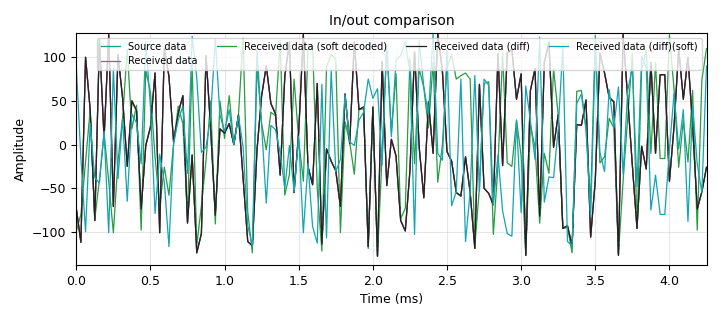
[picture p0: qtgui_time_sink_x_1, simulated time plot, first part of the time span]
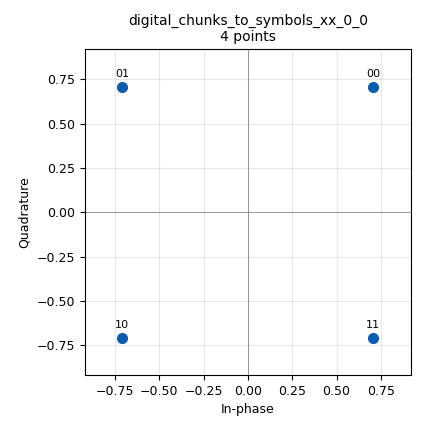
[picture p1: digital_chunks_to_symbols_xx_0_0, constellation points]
<?xml version='1.0' encoding='utf-8'?>
<?grc format='1' created='3.7.11'?>
<flow_graph>
<block>
<key>options</key>
<param><key>id</key><value>test_mapping</value></param>
<param><key>generate_options</key><value>qt_gui</value></param>
</block>
<block>
<key>variable_constellation</key>
<param><key>id</key><value>constel</value></param>
<param><key>type</key><value>dqpsk</value></param>
<param><key>precision</key><value>8</value></param>
</block>
<block>
<key>variable_qtgui_range</key>
<param><key>id</key><value>samp_rate</value></param>
<param><key>value</key><value>32000</value></param>
<param><key>gui_hint</key><value>0,0,1,1</value></param>
<param><key>label</key><value>Sample rate</value></param>
<param><key>min_len</key><value>100</value></param>
<param><key>orient</key><value>Qt.Horizontal</value></param>
<param><key>start</key><value>1</value></param>
<param><key>step</key><value>10</value></param>
<param><key>stop</key><value>256000</value></param>
<param><key>rangeType</key><value>int</value></param>
<param><key>widget</key><value>slider</value></param>
</block>
<block>
<key>variable_qtgui_label</key>
<param><key>id</key><value>samp_rate_label</value></param>
<param><key>value</key><value>samp_rate</value></param>
<param><key>gui_hint</key><value>0,1,1,1</value></param>
<param><key>label</key><value>Sample rate</value></param>
<param><key>type</key><value>int</value></param>
</block>
<block>
<key>variable</key>
<param><key>id</key><value>variable_0</value></param>
<param><key>value</key><value>constel.set_pre_diff_code(False) </value></param>
</block>
<block>
<key>analog_random_source_x</key>
<param><key>id</key><value>analog_random_source_x_0</value></param>
<param><key>max</key><value>256</value></param>
<param><key>min</key><value>0</value></param>
<param><key>num_samps</key><value>10000</value></param>
<param><key>type</key><value>byte</value></param>
<param><key>repeat</key><value>True</value></param>
</block>
<block>
<key>blocks_char_to_float</key>
<param><key>id</key><value>blocks_char_to_float_0</value></param>
<param><key>scale</key><value>1</value></param>
</block>
<block>
<key>blocks_char_to_float</key>
<param><key>id</key><value>blocks_char_to_float_1_0</value></param>
<param><key>scale</key><value>1</value></param>
</block>
<block>
<key>blocks_char_to_float</key>
<param><key>id</key><value>blocks_char_to_float_1_0_0</value></param>
<param><key>scale</key><value>1</value></param>
</block>
<block>
<key>blocks_char_to_float</key>
<param><key>id</key><value>blocks_char_to_float_1_0_0_0</value></param>
<param><key>scale</key><value>1</value></param>
</block>
<block>
<key>blocks_char_to_float</key>
<param><key>id</key><value>blocks_char_to_float_1_0_1</value></param>
<param><key>scale</key><value>1</value></param>
</block>
<block>
<key>blocks_repack_bits_bb</key>
<param><key>id</key><value>blocks_repack_bits_bb_0</value></param>
<param><key>k</key><value>1</value></param>
<param><key>l</key><value>constel.bits_per_symbol()</value></param>
<param><key>endianness</key><value>gr.GR_MSB_FIRST</value></param>
</block>
<block>
<key>blocks_repack_bits_bb</key>
<param><key>id</key><value>blocks_repack_bits_bb_0_0</value></param>
<param><key>k</key><value>1</value></param>
<param><key>l</key><value>8</value></param>
<param><key>endianness</key><value>gr.GR_LSB_FIRST</value></param>
</block>
<block>
<key>blocks_repack_bits_bb</key>
<param><key>id</key><value>blocks_repack_bits_bb_0_0_0</value></param>
<param><key>k</key><value>1</value></param>
<param><key>l</key><value>8</value></param>
<param><key>endianness</key><value>gr.GR_LSB_FIRST</value></param>
</block>
<block>
<key>blocks_repack_bits_bb</key>
<param><key>id</key><value>blocks_repack_bits_bb_0_0_0_0</value></param>
<param><key>k</key><value>1</value></param>
<param><key>l</key><value>8</value></param>
<param><key>endianness</key><value>gr.GR_LSB_FIRST</value></param>
</block>
<block>
<key>blocks_repack_bits_bb</key>
<param><key>id</key><value>blocks_repack_bits_bb_0_0_1</value></param>
<param><key>k</key><value>constel.bits_per_symbol()</value></param>
<param><key>l</key><value>1</value></param>
<param><key>endianness</key><value>gr.GR_MSB_FIRST</value></param>
</block>
<block>
<key>blocks_repack_bits_bb</key>
<param><key>id</key><value>blocks_repack_bits_bb_0_0_1_0</value></param>
<param><key>k</key><value>constel.bits_per_symbol()</value></param>
<param><key>l</key><value>1</value></param>
<param><key>endianness</key><value>gr.GR_MSB_FIRST</value></param>
</block>
<block>
<key>blocks_repack_bits_bb</key>
<param><key>id</key><value>blocks_repack_bits_bb_0_0_1_0_0</value></param>
<param><key>k</key><value>1</value></param>
<param><key>l</key><value>constel.bits_per_symbol()</value></param>
<param><key>endianness</key><value>gr.GR_MSB_FIRST</value></param>
</block>
<block>
<key>blocks_repack_bits_bb</key>
<param><key>id</key><value>blocks_repack_bits_bb_0_0_1_0_0_0</value></param>
<param><key>k</key><value>constel.bits_per_symbol()</value></param>
<param><key>l</key><value>1</value></param>
<param><key>endianness</key><value>gr.GR_MSB_FIRST</value></param>
</block>
<block>
<key>blocks_repack_bits_bb</key>
<param><key>id</key><value>blocks_repack_bits_bb_0_0_2</value></param>
<param><key>k</key><value>1</value></param>
<param><key>l</key><value>8</value></param>
<param><key>endianness</key><value>gr.GR_LSB_FIRST</value></param>
</block>
<block>
<key>blocks_repack_bits_bb</key>
<param><key>id</key><value>blocks_repack_bits_bb_1</value></param>
<param><key>k</key><value>8</value></param>
<param><key>l</key><value>1</value></param>
<param><key>endianness</key><value>gr.GR_LSB_FIRST</value></param>
</block>
<block>
<key>blocks_throttle</key>
<param><key>id</key><value>blocks_throttle_1</value></param>
<param><key>samples_per_second</key><value>samp_rate</value></param>
<param><key>type</key><value>byte</value></param>
</block>
<block>
<key>digital_binary_slicer_fb</key>
<param><key>id</key><value>digital_binary_slicer_fb_0_0</value></param>
</block>
<block>
<key>digital_binary_slicer_fb</key>
<param><key>id</key><value>digital_binary_slicer_fb_0_0_0</value></param>
</block>
<block>
<key>digital_chunks_to_symbols_xx</key>
<param><key>id</key><value>digital_chunks_to_symbols_xx_0_0</value></param>
<param><key>dimension</key><value>1</value></param>
<param><key>in_type</key><value>byte</value></param>
<param><key>out_type</key><value>complex</value></param>
<param><key>symbol_table</key><value>constel.points()</value></param>
</block>
<block>
<key>digital_chunks_to_symbols_xx</key>
<param><key>id</key><value>digital_chunks_to_symbols_xx_0_0_0</value></param>
<param><key>dimension</key><value>1</value></param>
<param><key>in_type</key><value>byte</value></param>
<param><key>out_type</key><value>complex</value></param>
<param><key>symbol_table</key><value>constel.points()</value></param>
</block>
<block>
<key>digital_constellation_decoder_cb</key>
<param><key>id</key><value>digital_constellation_decoder_cb_0_0</value></param>
<param><key>constellation</key><value>constel.base()</value></param>
</block>
<block>
<key>digital_constellation_decoder_cb</key>
<param><key>id</key><value>digital_constellation_decoder_cb_0_0_0</value></param>
<param><key>constellation</key><value>constel.base()</value></param>
</block>
<block>
<key>digital_constellation_soft_decoder_cf</key>
<param><key>id</key><value>digital_constellation_soft_decoder_cf_0</value></param>
<param><key>constellation</key><value>constel.base()</value></param>
</block>
<block>
<key>digital_constellation_soft_decoder_cf</key>
<param><key>id</key><value>digital_constellation_soft_decoder_cf_0_0</value></param>
<param><key>constellation</key><value>constel.base()</value></param>
</block>
<block>
<key>digital_diff_decoder_bb</key>
<param><key>id</key><value>digital_diff_decoder_bb_0</value></param>
<param><key>modulus</key><value>len(constel.points())</value></param>
</block>
<block>
<key>digital_diff_decoder_bb</key>
<param><key>id</key><value>digital_diff_decoder_bb_0_0</value></param>
<param><key>modulus</key><value>len(constel.points())</value></param>
</block>
<block>
<key>digital_diff_encoder_bb</key>
<param><key>id</key><value>digital_diff_encoder_bb_0</value></param>
<param><key>modulus</key><value>len(constel.points())</value></param>
</block>
<block>
<key>import</key>
<param><key>id</key><value>import_0</value></param>
<param><key>import</key><value>from gnuradio import digital</value></param>
</block>
<block>
<key>import</key>
<param><key>id</key><value>import_0_0</value></param>
<param><key>import</key><value>from gnuradio import filter</value></param>
</block>
<block>
<key>qtgui_time_sink_x</key>
<param><key>id</key><value>qtgui_time_sink_x_1</value></param>
<param><key>gui_hint</key><value>3,0,1,4</value></param>
<param><key>color1</key><value>"blue"</value></param>
<param><key>label1</key><value>"Source data"</value></param>
<param><key>color2</key><value>"red"</value></param>
<param><key>label2</key><value>"Received data"</value></param>
<param><key>color3</key><value>"green"</value></param>
<param><key>label3</key><value>"Received data (soft decoded)"</value></param>
<param><key>color4</key><value>"dark red"</value></param>
<param><key>label4</key><value>"Received data (diff)"</value></param>
<param><key>style4</key><value>2</value></param>
<param><key>color5</key><value>"dark green"</value></param>
<param><key>label5</key><value>"Received data (diff)(soft)"</value></param>
<param><key>style5</key><value>2</value></param>
<param><key>name</key><value>"In/out comparison"</value></param>
<param><key>nconnections</key><value>5</value></param>
<param><key>size</key><value>512</value></param>
<param><key>srate</key><value>samp_rate</value></param>
<param><key>type</key><value>float</value></param>
<param><key>ymax</key><value>128</value></param>
<param><key>ymin</key><value>-128</value></param>
</block>
<block>
<key>virtual_sink</key>
<param><key>id</key><value>virtual_sink_2_0_0_0_0</value></param>
<param><key>stream_id</key><value>snk_data</value></param>
</block>
<block>
<key>virtual_sink</key>
<param><key>id</key><value>virtual_sink_2_0_0_0_0_0</value></param>
<param><key>stream_id</key><value>src_data</value></param>
</block>
<block>
<key>virtual_sink</key>
<param><key>id</key><value>virtual_sink_2_0_0_0_0_1</value></param>
<param><key>stream_id</key><value>snk_data_soft</value></param>
</block>
<block>
<key>virtual_sink</key>
<param><key>id</key><value>virtual_sink_2_0_0_0_0_1_0</value></param>
<param><key>stream_id</key><value>snk_data_soft_diff</value></param>
</block>
<block>
<key>virtual_sink</key>
<param><key>id</key><value>virtual_sink_2_0_0_0_0_2</value></param>
<param><key>stream_id</key><value>snk_data_diff</value></param>
</block>
<block>
<key>virtual_source</key>
<param><key>id</key><value>virtual_source_0</value></param>
<param><key>stream_id</key><value>src_data</value></param>
</block>
<block>
<key>virtual_source</key>
<param><key>id</key><value>virtual_source_2</value></param>
<param><key>stream_id</key><value>snk_data</value></param>
</block>
<block>
<key>virtual_source</key>
<param><key>id</key><value>virtual_source_2_0</value></param>
<param><key>stream_id</key><value>snk_data_soft</value></param>
</block>
<block>
<key>virtual_source</key>
<param><key>id</key><value>virtual_source_2_0_0</value></param>
<param><key>stream_id</key><value>snk_data_soft_diff</value></param>
</block>
<block>
<key>virtual_source</key>
<param><key>id</key><value>virtual_source_2_1</value></param>
<param><key>stream_id</key><value>snk_data_diff</value></param>
</block>
<connection><source_block_id>analog_random_source_x_0</source_block_id><sink_block_id>blocks_throttle_1</sink_block_id><source_key>0</source_key><sink_key>0</sink_key></connection>
<connection><source_block_id>blocks_char_to_float_0</source_block_id><sink_block_id>qtgui_time_sink_x_1</sink_block_id><source_key>0</source_key><sink_key>0</sink_key></connection>
<connection><source_block_id>blocks_char_to_float_1_0</source_block_id><sink_block_id>qtgui_time_sink_x_1</sink_block_id><source_key>0</source_key><sink_key>1</sink_key></connection>
<connection><source_block_id>blocks_char_to_float_1_0_0</source_block_id><sink_block_id>qtgui_time_sink_x_1</sink_block_id><source_key>0</source_key><sink_key>2</sink_key></connection>
<connection><source_block_id>blocks_char_to_float_1_0_0_0</source_block_id><sink_block_id>qtgui_time_sink_x_1</sink_block_id><source_key>0</source_key><sink_key>4</sink_key></connection>
<connection><source_block_id>blocks_char_to_float_1_0_1</source_block_id><sink_block_id>qtgui_time_sink_x_1</sink_block_id><source_key>0</source_key><sink_key>3</sink_key></connection>
<connection><source_block_id>blocks_repack_bits_bb_0</source_block_id><sink_block_id>digital_chunks_to_symbols_xx_0_0</sink_block_id><source_key>0</source_key><sink_key>0</sink_key></connection>
<connection><source_block_id>blocks_repack_bits_bb_0</source_block_id><sink_block_id>digital_diff_encoder_bb_0</sink_block_id><source_key>0</source_key><sink_key>0</sink_key></connection>
<connection><source_block_id>blocks_repack_bits_bb_0_0</source_block_id><sink_block_id>virtual_sink_2_0_0_0_0</sink_block_id><source_key>0</source_key><sink_key>0</sink_key></connection>
<connection><source_block_id>blocks_repack_bits_bb_0_0_0</source_block_id><sink_block_id>virtual_sink_2_0_0_0_0_1</sink_block_id><source_key>0</source_key><sink_key>0</sink_key></connection>
<connection><source_block_id>blocks_repack_bits_bb_0_0_0_0</source_block_id><sink_block_id>virtual_sink_2_0_0_0_0_1_0</sink_block_id><source_key>0</source_key><sink_key>0</sink_key></connection>
<connection><source_block_id>blocks_repack_bits_bb_0_0_1</source_block_id><sink_block_id>blocks_repack_bits_bb_0_0</sink_block_id><source_key>0</source_key><sink_key>0</sink_key></connection>
<connection><source_block_id>blocks_repack_bits_bb_0_0_1_0</source_block_id><sink_block_id>blocks_repack_bits_bb_0_0_2</sink_block_id><source_key>0</source_key><sink_key>0</sink_key></connection>
<connection><source_block_id>blocks_repack_bits_bb_0_0_1_0_0</source_block_id><sink_block_id>digital_diff_decoder_bb_0_0</sink_block_id><source_key>0</source_key><sink_key>0</sink_key></connection>
<connection><source_block_id>blocks_repack_bits_bb_0_0_1_0_0_0</source_block_id><sink_block_id>blocks_repack_bits_bb_0_0_0_0</sink_block_id><source_key>0</source_key><sink_key>0</sink_key></connection>
<connection><source_block_id>blocks_repack_bits_bb_0_0_2</source_block_id><sink_block_id>virtual_sink_2_0_0_0_0_2</sink_block_id><source_key>0</source_key><sink_key>0</sink_key></connection>
<connection><source_block_id>blocks_repack_bits_bb_1</source_block_id><sink_block_id>blocks_repack_bits_bb_0</sink_block_id><source_key>0</source_key><sink_key>0</sink_key></connection>
<connection><source_block_id>blocks_throttle_1</source_block_id><sink_block_id>blocks_repack_bits_bb_1</sink_block_id><source_key>0</source_key><sink_key>0</sink_key></connection>
<connection><source_block_id>blocks_throttle_1</source_block_id><sink_block_id>virtual_sink_2_0_0_0_0_0</sink_block_id><source_key>0</source_key><sink_key>0</sink_key></connection>
<connection><source_block_id>digital_binary_slicer_fb_0_0</source_block_id><sink_block_id>blocks_repack_bits_bb_0_0_0</sink_block_id><source_key>0</source_key><sink_key>0</sink_key></connection>
<connection><source_block_id>digital_binary_slicer_fb_0_0_0</source_block_id><sink_block_id>blocks_repack_bits_bb_0_0_1_0_0</sink_block_id><source_key>0</source_key><sink_key>0</sink_key></connection>
<connection><source_block_id>digital_chunks_to_symbols_xx_0_0</source_block_id><sink_block_id>digital_constellation_decoder_cb_0_0</sink_block_id><source_key>0</source_key><sink_key>0</sink_key></connection>
<connection><source_block_id>digital_chunks_to_symbols_xx_0_0</source_block_id><sink_block_id>digital_constellation_soft_decoder_cf_0</sink_block_id><source_key>0</source_key><sink_key>0</sink_key></connection>
<connection><source_block_id>digital_chunks_to_symbols_xx_0_0_0</source_block_id><sink_block_id>digital_constellation_decoder_cb_0_0_0</sink_block_id><source_key>0</source_key><sink_key>0</sink_key></connection>
<connection><source_block_id>digital_chunks_to_symbols_xx_0_0_0</source_block_id><sink_block_id>digital_constellation_soft_decoder_cf_0_0</sink_block_id><source_key>0</source_key><sink_key>0</sink_key></connection>
<connection><source_block_id>digital_constellation_decoder_cb_0_0</source_block_id><sink_block_id>blocks_repack_bits_bb_0_0_1</sink_block_id><source_key>0</source_key><sink_key>0</sink_key></connection>
<connection><source_block_id>digital_constellation_decoder_cb_0_0_0</source_block_id><sink_block_id>digital_diff_decoder_bb_0</sink_block_id><source_key>0</source_key><sink_key>0</sink_key></connection>
<connection><source_block_id>digital_constellation_soft_decoder_cf_0</source_block_id><sink_block_id>digital_binary_slicer_fb_0_0</sink_block_id><source_key>0</source_key><sink_key>0</sink_key></connection>
<connection><source_block_id>digital_constellation_soft_decoder_cf_0_0</source_block_id><sink_block_id>digital_binary_slicer_fb_0_0_0</sink_block_id><source_key>0</source_key><sink_key>0</sink_key></connection>
<connection><source_block_id>digital_diff_decoder_bb_0</source_block_id><sink_block_id>blocks_repack_bits_bb_0_0_1_0</sink_block_id><source_key>0</source_key><sink_key>0</sink_key></connection>
<connection><source_block_id>digital_diff_decoder_bb_0_0</source_block_id><sink_block_id>blocks_repack_bits_bb_0_0_1_0_0_0</sink_block_id><source_key>0</source_key><sink_key>0</sink_key></connection>
<connection><source_block_id>digital_diff_encoder_bb_0</source_block_id><sink_block_id>digital_chunks_to_symbols_xx_0_0_0</sink_block_id><source_key>0</source_key><sink_key>0</sink_key></connection>
<connection><source_block_id>virtual_source_0</source_block_id><sink_block_id>blocks_char_to_float_0</sink_block_id><source_key>0</source_key><sink_key>0</sink_key></connection>
<connection><source_block_id>virtual_source_2</source_block_id><sink_block_id>blocks_char_to_float_1_0</sink_block_id><source_key>0</source_key><sink_key>0</sink_key></connection>
<connection><source_block_id>virtual_source_2_0</source_block_id><sink_block_id>blocks_char_to_float_1_0_0</sink_block_id><source_key>0</source_key><sink_key>0</sink_key></connection>
<connection><source_block_id>virtual_source_2_0_0</source_block_id><sink_block_id>blocks_char_to_float_1_0_0_0</sink_block_id><source_key>0</source_key><sink_key>0</sink_key></connection>
<connection><source_block_id>virtual_source_2_1</source_block_id><sink_block_id>blocks_char_to_float_1_0_1</sink_block_id><source_key>0</source_key><sink_key>0</sink_key></connection>
</flow_graph>
